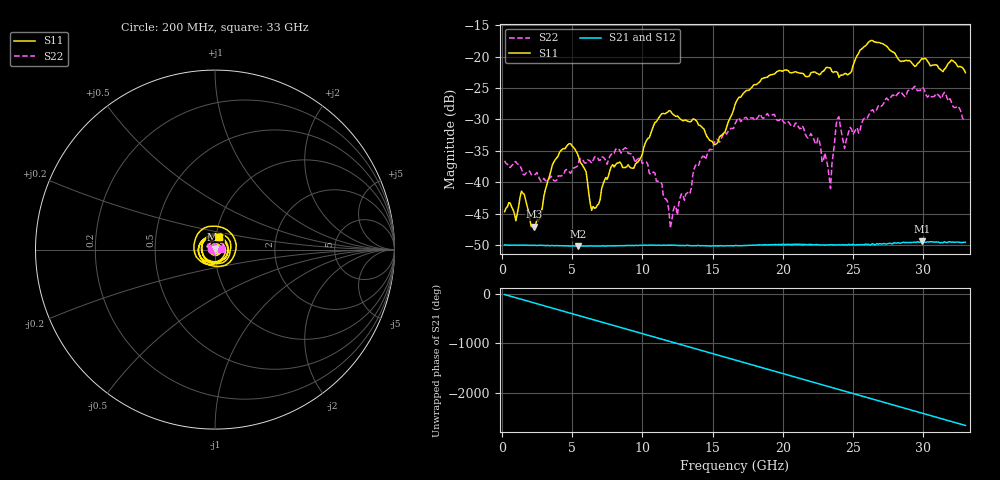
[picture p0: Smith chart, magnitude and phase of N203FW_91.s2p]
# GHZ S RI R 50
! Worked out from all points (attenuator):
!   329 points, 200 MHz to 33 GHz, reference 50 ohm
!   highest |S21| = -49.39 dB at 29.9 GHz (marker M1); lowest = -50.1 dB at 5.4 GHz (marker M2)
!   lowest |S11| = -47.0 dB at 2.3 GHz (marker M3), VSWR 1.01, Z = 50.1 + j0.427 ohm
!   |S11| at or under -10 dB: start of sweep to end of sweep
!   |S22| runs from -47.3 to -24.7 dB; largest |S21 - S12| = 8.8e-05
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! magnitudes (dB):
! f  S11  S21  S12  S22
! 200 MHz  -44.7  -49.9  -49.9  -36.6
! 1 GHz  -46.1  -50.0  -50.0  -36.7
! 1.4 GHz  -41.4  -50.0  -50.0  -37.8
! 2.3 GHz  -47.0  -50.0  -50.0  -38.8
! 4.1 GHz  -35.3  -50.1  -50.1  -39.0
! 5.4 GHz  -35.5  -50.1  -50.1  -37.4
! 5.7 GHz  -37.1  -50.1  -50.1  -36.4
! 6.4 GHz  -44.4  -50.1  -50.1  -36.9
! 8.8 GHz  -37.6  -50.0  -50.0  -34.5
! 11.2 GHz  -29.6  -50.0  -50.0  -39.9
! 12 GHz  -28.7  -50.0  -50.0  -47.3
! 15.2 GHz  -34.0  -50.1  -50.1  -33.4
! 16.6 GHz  -27.6  -50.0  -50.0  -30.7
! 22.1 GHz  -22.5  -49.9  -49.9  -32.7
! 23 GHz  -22.0  -50.0  -49.9  -35.3
! 23.4 GHz  -21.8  -49.9  -49.9  -41.0
! 23.9 GHz  -22.5  -49.9  -49.9  -29.8
! 24.4 GHz  -22.7  -50.0  -49.9  -34.6
! 26.2 GHz  -17.5  -50.0  -49.8  -29.0
! 27.6 GHz  -18.9  -49.7  -49.7  -26.8
! 29.9 GHz  -20.3  -49.4  -49.5  -24.9
! 33 GHz  -22.6  -49.5  -49.6  -29.8
